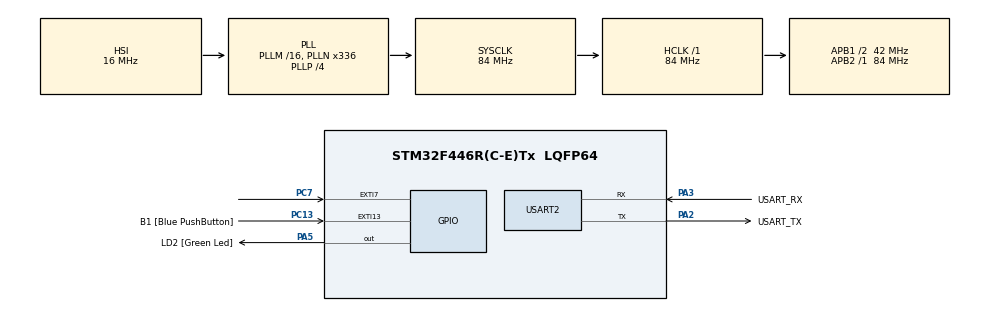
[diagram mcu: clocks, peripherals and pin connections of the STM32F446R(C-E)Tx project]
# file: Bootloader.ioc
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Mcu.Family=STM32F4
Mcu.Name=STM32F446R(C-E)Tx
Mcu.Package=LQFP64
NVIC.PriorityGroup=NVIC_PRIORITYGROUP_0
PA13.GPIO_Label=TMS
PA13.Mode=Serial_Wire
PA13.Signal=SYS_JTMS-SWDIO
PA14.GPIO_Label=TCK
PA14.Mode=Serial_Wire
PA14.Signal=SYS_JTCK-SWCLK
PA2.GPIO_Label=USART_TX
PA2.Mode=Asynchronous
PA2.Signal=USART2_TX
PA3.GPIO_Label=USART_RX
PA3.Mode=Asynchronous
PA3.Signal=USART2_RX
PA5.GPIO_Label=LD2 [Green Led]
PA5.Signal=GPIO_Output
PB3.GPIO_Label=SWO
PB3.Signal=SYS_JTDO-SWO
PC13.GPIO_Label=B1 [Blue PushButton]
PC13.GPIO_ModeDefaultEXTI=GPIO_MODE_IT_FALLING
PC13.Signal=GPXTI13
PC14-OSC32_IN.Mode=LSE-External-Oscillator
PC14-OSC32_IN.Signal=RCC_OSC32_IN
PC15-OSC32_OUT.Mode=LSE-External-Oscillator
PC15-OSC32_OUT.Signal=RCC_OSC32_OUT
PC7.GPIO_ModeDefaultEXTI=GPIO_MODE_IT_FALLING
PC7.GPIO_PuPd=GPIO_PULLUP
PC7.Signal=GPXTI7
PH0-OSC_IN.Mode=HSE-External-Oscillator
PH0-OSC_IN.Signal=RCC_OSC_IN
PH1-OSC_OUT.Mode=HSE-External-Oscillator
PH1-OSC_OUT.Signal=RCC_OSC_OUT
ProjectManager.HeapSize=0x200
ProjectManager.StackSize=0x400
ProjectManager.TargetToolchain=STM32CubeIDE
RCC.48MHZClocksFreq_Value=84000000
RCC.AHBFreq_Value=84000000
RCC.APB1CLKDivider=RCC_HCLK_DIV2
RCC.APB1Freq_Value=42000000
RCC.APB1TimFreq_Value=84000000
RCC.APB2Freq_Value=84000000
RCC.APB2TimFreq_Value=84000000
RCC.CortexFreq_Value=84000000
RCC.FLatency-AdvancedSettings=FLASH_LATENCY_2
RCC.HCLKFreq_Value=84000000
RCC.HSE_VALUE=8000000
RCC.HSI_VALUE=16000000
RCC.PLLN=336
RCC.PLLP=RCC_PLLP_DIV4
RCC.SYSCLKFreq_VALUE=84000000
RCC.SYSCLKSource=RCC_SYSCLKSOURCE_PLLCLK
RCC.USBFreq_Value=168000000
RCC.VCOOutputFreq_Value=336000000
USART2.VirtualMode=VM_ASYNC
VP_CRC_VS_CRC.Mode=CRC_Activate
board=NUCLEO-F446RE

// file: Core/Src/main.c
/* USER CODE BEGIN Header */
/**
 ******************************************************************************
 * @file           : main.c
 * @brief          : Main program body
 ******************************************************************************
 * @attention
 *
 * Copyright (c) 2024 STMicroelectronics.
 * All rights reserved.
 *
 * This software is licensed under terms that can be found in the LICENSE file
 * in the root directory of this software component.
 * If no LICENSE file comes with this software, it is provided AS-IS.
 *
 ******************************************************************************
 */
/* USER CODE END Header */
#include "main.h"

/* USER CODE BEGIN Includes */
#include <string.h>
#include "bootloader.h"
/* USER CODE END Includes */

/* USER CODE BEGIN PD */
#define FLASH_BASE_SECTOR2_ADDRESS 0x8008000
/* USER CODE END PD */

CRC_HandleTypeDef hcrc;

UART_HandleTypeDef huart2;

void SystemClock_Config(void);
static void MX_GPIO_Init(void);
static void MX_USART2_UART_Init(void);
static void MX_CRC_Init(void);

int main(void)
{
	/* USER CODE BEGIN 1 */
	char helooBootLoader []="hello  from boat loader\r\n";

	/* USER CODE END 1 */

	/* MCU Configuration--------------------------------------------------------*/

	/* Reset of all peripherals, Initializes the Flash interface and the Systick. */
	HAL_Init();

	/* Configure the system clock */
	SystemClock_Config();

	/* Initialize all configured peripherals */
	MX_GPIO_Init();
	MX_USART2_UART_Init();
	MX_CRC_Init();
	/* USER CODE BEGIN 2 */
	if(HAL_GPIO_ReadPin(C7_GPIO_Port, C7_Pin)==GPIO_PIN_RESET)
	{
		BootLoader_UartReadData();
	}
	else
	{
		BootLoader_JumpToApp();
	}

	/* USER CODE END 2 */

	/* Infinite loop */
	/* USER CODE BEGIN WHILE */
	while (1)
	{
		HAL_UART_Transmit(&huart2, (uint8_t*)helooBootLoader, sizeof(helooBootLoader), HAL_MAX_DELAY);
		HAL_Delay(1000);

		/* USER CODE END WHILE */

	}
}

void SystemClock_Config(void)
{
	RCC_OscInitTypeDef RCC_OscInitStruct = {0};
	RCC_ClkInitTypeDef RCC_ClkInitStruct = {0};

	/** Configure the main internal regulator output voltage
	 */
	__HAL_RCC_PWR_CLK_ENABLE();
	__HAL_PWR_VOLTAGESCALING_CONFIG(PWR_REGULATOR_VOLTAGE_SCALE3);

	/** Initializes the RCC Oscillators according to the specified parameters
	 * in the RCC_OscInitTypeDef structure.
	 */
	RCC_OscInitStruct.OscillatorType = RCC_OSCILLATORTYPE_HSI;
	RCC_OscInitStruct.HSIState = RCC_HSI_ON;
	RCC_OscInitStruct.HSICalibrationValue = RCC_HSICALIBRATION_DEFAULT;
	RCC_OscInitStruct.PLL.PLLState = RCC_PLL_ON;
	RCC_OscInitStruct.PLL.PLLSource = RCC_PLLSOURCE_HSI;
	RCC_OscInitStruct.PLL.PLLM = 16;
	RCC_OscInitStruct.PLL.PLLN = 336;
	RCC_OscInitStruct.PLL.PLLP = RCC_PLLP_DIV4;
	RCC_OscInitStruct.PLL.PLLQ = 2;
	RCC_OscInitStruct.PLL.PLLR = 2;
	if (HAL_RCC_OscConfig(&RCC_OscInitStruct) != HAL_OK)
	{
		Error_Handler();
	}

	/** Initializes the CPU, AHB and APB buses clocks
	 */
	RCC_ClkInitStruct.ClockType = RCC_CLOCKTYPE_HCLK|RCC_CLOCKTYPE_SYSCLK
			|RCC_CLOCKTYPE_PCLK1|RCC_CLOCKTYPE_PCLK2;
	RCC_ClkInitStruct.SYSCLKSource = RCC_SYSCLKSOURCE_PLLCLK;
	RCC_ClkInitStruct.AHBCLKDivider = RCC_SYSCLK_DIV1;
	RCC_ClkInitStruct.APB1CLKDivider = RCC_HCLK_DIV2;
	RCC_ClkInitStruct.APB2CLKDivider = RCC_HCLK_DIV1;

	if (HAL_RCC_ClockConfig(&RCC_ClkInitStruct, FLASH_LATENCY_2) != HAL_OK)
	{
		Error_Handler();
	}
}

static void MX_CRC_Init(void)
{

	hcrc.Instance = CRC;
	if (HAL_CRC_Init(&hcrc) != HAL_OK)
	{
		Error_Handler();
	}

}

static void MX_USART2_UART_Init(void)
{

	huart2.Instance = USART2;
	huart2.Init.BaudRate = 115200;
	huart2.Init.WordLength = UART_WORDLENGTH_8B;
	huart2.Init.StopBits = UART_STOPBITS_1;
	huart2.Init.Parity = UART_PARITY_NONE;
	huart2.Init.Mode = UART_MODE_TX_RX;
	huart2.Init.HwFlowCtl = UART_HWCONTROL_NONE;
	huart2.Init.OverSampling = UART_OVERSAMPLING_16;
	if (HAL_UART_Init(&huart2) != HAL_OK)
	{
		Error_Handler();
	}

}

static void MX_GPIO_Init(void)
{
	GPIO_InitTypeDef GPIO_InitStruct = {0};

	/* GPIO Ports Clock Enable */
	__HAL_RCC_GPIOC_CLK_ENABLE();
	__HAL_RCC_GPIOH_CLK_ENABLE();
	__HAL_RCC_GPIOA_CLK_ENABLE();
	__HAL_RCC_GPIOB_CLK_ENABLE();

	/*Configure GPIO pin Output Level */
	HAL_GPIO_WritePin(LD2_GPIO_Port, LD2_Pin, GPIO_PIN_RESET);

	/*Configure GPIO pin : B1_Pin */
	GPIO_InitStruct.Pin = B1_Pin;
	GPIO_InitStruct.Mode = GPIO_MODE_IT_FALLING;
	GPIO_InitStruct.Pull = GPIO_NOPULL;
	HAL_GPIO_Init(B1_GPIO_Port, &GPIO_InitStruct);

	/*Configure GPIO pin : LD2_Pin */
	GPIO_InitStruct.Pin = LD2_Pin;
	GPIO_InitStruct.Mode = GPIO_MODE_OUTPUT_PP;
	GPIO_InitStruct.Pull = GPIO_NOPULL;
	GPIO_InitStruct.Speed = GPIO_SPEED_FREQ_LOW;
	HAL_GPIO_Init(LD2_GPIO_Port, &GPIO_InitStruct);

	/*Configure GPIO pin : PC7 */
	GPIO_InitStruct.Pin = GPIO_PIN_7;
	GPIO_InitStruct.Mode = GPIO_MODE_IT_FALLING;
	GPIO_InitStruct.Pull = GPIO_PULLUP;
	HAL_GPIO_Init(GPIOC, &GPIO_InitStruct);

}

/* USER CODE BEGIN 4 */
void BootLoader_UartReadData()
{
/*This Function is used to Read Command From Host*/
	uint8_t cmdPacket[255]={0};
	while(1)
	{
		/*clear command Packet every iteration*/
		memset(cmdPacket,0,255);
		/*first step read first byte which include length to follow*/
		HAL_UART_Receive(&huart2, cmdPacket, 1, HAL_MAX_DELAY);

		/* second step read the rest of command*/
		HAL_UART_Receive(&huart2, &cmdPacket[1],cmdPacket[0], HAL_MAX_DELAY);

		/*check the command code and decode it*/
		switch(cmdPacket[1])
		{
			case  BL_GET_VER 			: BL_HandleGetVerCmd(cmdPacket); break;
			case  BL_GET_HELP			: BL_HandleGetHelpCmd(cmdPacket); break;
			case  BL_GET_CID			: BL_HandleGetCIDCmd(cmdPacket); break;
			case  BL_GET_RDP_STATUS		: BL_HandleGetRdpStatusCmd(cmdPacket) ; break;
			case  BL_GOTO_ADDR			: BL_HandleGoToAddressCmd(cmdPacket); break;
			case  BL_FLASH_ERASE		: BL_HandleFlashEraseCmd(cmdPacket); break;
			case  BL_MEM_WRITE			: BL_HandleMemWriteCmd(cmdPacket); break;
			case  BL_EN_WR_PROTECT		: BL_HandleEnRwProtectionCmd(cmdPacket); break;
			case  BL_MEM_READ			: BL_HandleMemReadCmd(cmdPacket);break;
			case  BL_READ_SECTOR_STATUS : BL_HandleReadSectorStatusCmd(cmdPacket); break;
			case  BL_OTP_READ		    :BL_HandleOtpReadCmd(cmdPacket); break;
			case  BL_DIS_WR_PROTECT   	:BL_HandleDisRwProtectionCmd(cmdPacket); break;
			default: break;
		}

	}
}
void BootLoader_JumpToApp()
{
	/*configure msp by reading value of base address of vector table*/
	uint32_t msp_value=*((volatile uint32_t*)FLASH_BASE_SECTOR2_ADDRESS);

	uint32_t resetHandlerAddress =*((volatile uint32_t*)FLASH_BASE_SECTOR2_ADDRESS+1);

	__asm volatile ("MSR MSP, %0"::"r"(msp_value));

	void (*APP_Reset_Handler)(void);

	APP_Reset_Handler =(void*)resetHandlerAddress;
	/*jump to user app*/
	APP_Reset_Handler();
}
/* USER CODE END 4 */

void Error_Handler(void)
{
	__disable_irq();
	while (1)
	{
	}
}
